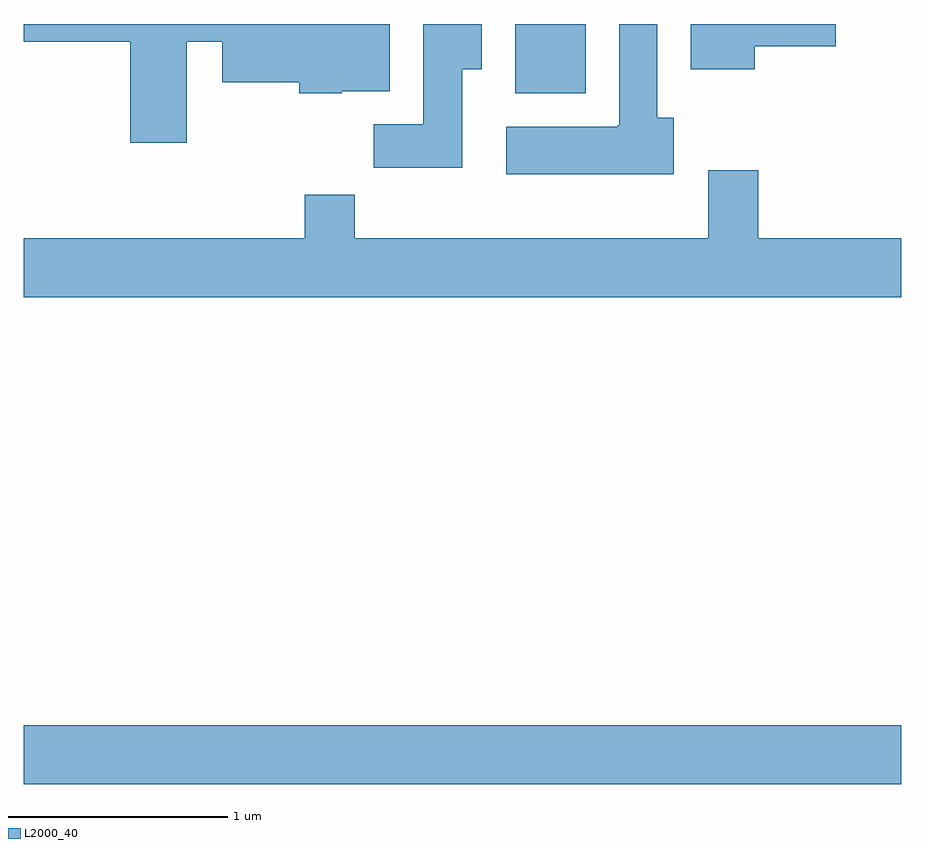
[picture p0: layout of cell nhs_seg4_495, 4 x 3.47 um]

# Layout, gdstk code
import gdstk
lib = gdstk.Library(unit=1e-6, precision=1e-09)
def R(c, l, rs):  # rectangles x0, y0, x1, y1
    for r in rs: c.add(gdstk.rectangle(r[:2], r[2:], *l))
def P(c, l, *ps):  # polygons
    for p in ps: c.add(gdstk.Polygon(p, *l))
L2000_40 = (2000, 40)

nhs_seg4_495 = lib.new_cell('nhs_seg4_495')
R(nhs_seg4_495, L2000_40, [(199.611,1292.516,203.611,1292.784), (201.851,1295.666,202.174,1295.982)])
P(nhs_seg4_495, L2000_40, [(201.609,1295.776),(201.699,1295.776),(201.699,1295.982),(201.431,1295.982),(201.431,1295.524),(201.206,1295.524),(201.206,1295.326),(201.609,1295.326)],
  [(202.574,1295.554),(202.499,1295.554),(202.499,1295.982),(202.326,1295.982),(202.326,1295.52),(202.32,1295.52),(202.32,1295.514),(201.811,1295.514),(201.811,1295.296),(202.574,1295.296)],
  [(200.354,1295.901),(200.516,1295.901),(200.516,1295.716),(200.866,1295.716),(200.866,1295.666),(201.06,1295.666),(201.06,1295.676),(201.279,1295.676),(201.279,1295.982),(199.611,1295.982),(199.611,1295.901),(200.096,1295.901),(200.096,1295.441),(200.354,1295.441)],
  [(202.944,1295.881),(203.314,1295.881),(203.314,1295.982),(202.651,1295.982),(202.651,1295.776),(202.944,1295.776)],
  [(203.611,1295.004),(202.959,1295.004),(202.959,1295.314),(202.731,1295.314),(202.731,1295.004),(201.119,1295.004),(201.119,1295.204),(200.891,1295.204),(200.891,1295.004),(199.611,1295.004),(199.611,1294.736),(203.611,1294.736)])

lib.write_gds('nhs_seg4_495.gds')
